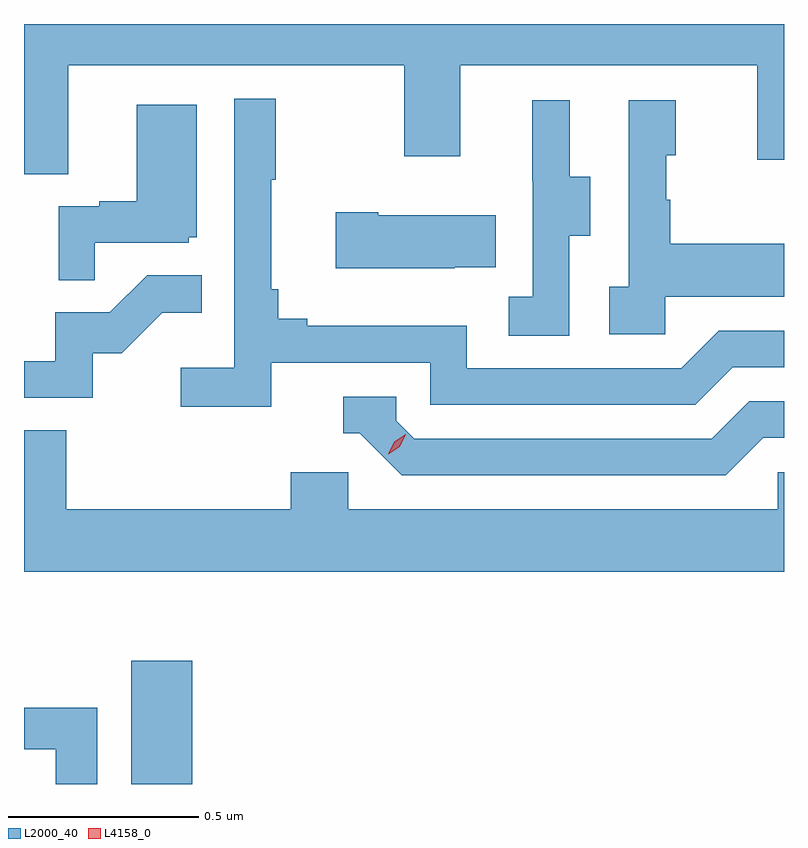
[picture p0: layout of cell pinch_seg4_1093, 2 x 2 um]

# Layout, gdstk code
import gdstk
lib = gdstk.Library(unit=1e-6, precision=1e-09)
def R(c, l, rs):  # rectangles x0, y0, x1, y1
    for r in rs: c.add(gdstk.rectangle(r[:2], r[2:], *l))
def P(c, l, *ps):  # polygons
    for p in ps: c.add(gdstk.Polygon(p, *l))
L2000_40 = (2000, 40)
L4158_0 = (4158, 0)

pinch_seg4_1093 = lib.new_cell('pinch_seg4_1093')
R(pinch_seg4_1093, L2000_40, [(861.521,764.293,861.682,764.617)])
P(pinch_seg4_1093, L2000_40, [(861.355,766.184),(862.24,766.184),(862.24,765.945),(862.387,765.945),(862.387,766.184),(863.168,766.184),(863.168,765.936),(863.239,765.936),(863.239,766.293),(861.239,766.293),(861.239,765.898),(861.355,765.898)],
  [(861.89,765.402),(862.308,765.402),(862.308,765.291),(863.005,765.291),(863.104,765.39),(863.239,765.39),(863.239,765.486),(863.067,765.486),(862.968,765.387),(862.404,765.387),(862.404,765.499),(861.985,765.499),(861.985,765.518),(861.908,765.518),(861.908,765.595),(861.889,765.595),(861.889,765.883),(861.901,765.883),(861.901,766.096),(861.792,766.096),(861.792,765.388),(861.651,765.388),(861.651,765.286),(861.89,765.286)],
  [(862.674,765.736),(862.729,765.736),(862.729,765.891),(862.675,765.891),(862.675,766.093),(862.577,766.093),(862.577,765.879),(862.578,765.879),(862.578,765.575),(862.515,765.575),(862.515,765.472),(862.674,765.472)],
  [(862.926,765.575),(863.239,765.575),(863.239,765.715),(862.939,765.715),(862.939,765.83),(862.929,765.83),(862.929,765.948),(862.954,765.948),(862.954,766.093),(862.83,766.093),(862.83,765.602),(862.779,765.602),(862.779,765.477),(862.926,765.477)],
  [(861.425,765.717),(861.672,765.717),(861.672,765.732),(861.694,765.732),(861.694,766.081),(861.536,766.081),(861.536,765.826),(861.437,765.826),(861.437,765.813),(861.33,765.813),(861.33,765.619),(861.425,765.619)],
  [(862.373,765.653),(862.481,765.653),(862.481,765.79),(862.171,765.79),(862.171,765.798),(862.059,765.798),(862.059,765.65),(862.373,765.65)],
  [(861.42,765.426),(861.496,765.426),(861.603,765.533),(861.707,765.533),(861.707,765.632),(861.563,765.632),(861.465,765.534),(861.321,765.534),(861.321,765.405),(861.239,765.405),(861.239,765.309),(861.42,765.309)],
  [(863.185,765.204),(863.239,765.204),(863.239,765.3),(863.148,765.3),(863.049,765.201),(862.266,765.201),(862.218,765.249),(862.218,765.312),(862.079,765.312),(862.079,765.216),(862.122,765.216),(862.233,765.105),(863.086,765.105)],
  [(863.239,765.114),(863.223,765.114),(863.223,765.016),(862.092,765.016),(862.092,765.114),(861.941,765.114),(861.941,765.016),(861.35,765.016),(861.35,765.224),(861.239,765.224),(861.239,764.852),(863.239,764.852)],
  [(861.432,764.494),(861.239,764.494),(861.239,764.384),(861.323,764.384),(861.323,764.293),(861.432,764.293)])
P(pinch_seg4_1093, L4158_0, [(862.197,765.161),(862.197,765.161),(862.213,765.194),(862.243,765.214),(862.244,765.214),(862.244,765.213),(862.228,765.181),(862.197,765.161)])

lib.write_gds('pinch_seg4_1093.gds')
